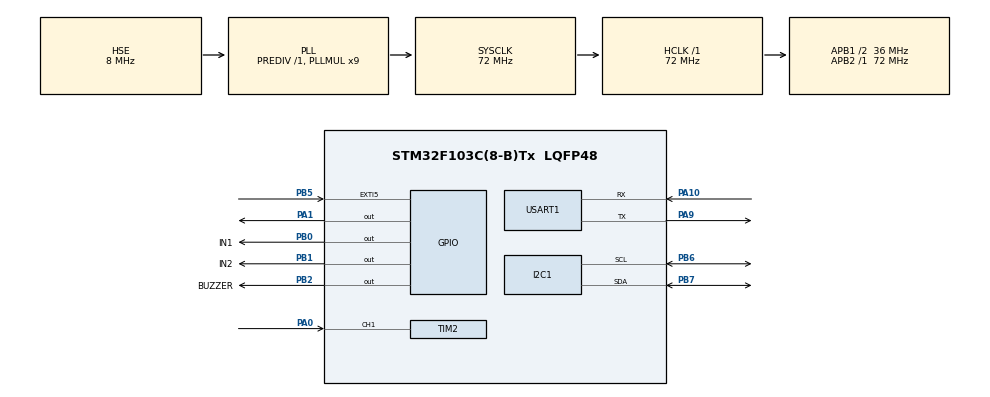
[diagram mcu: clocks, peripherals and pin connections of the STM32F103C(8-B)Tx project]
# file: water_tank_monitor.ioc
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Mcu.Family=STM32F1
Mcu.Name=STM32F103C(8-B)Tx
Mcu.Package=LQFP48
NVIC.EXTI9_5_IRQn=true\:0\:0\:false\:false\:true\:true\:true\:true
NVIC.PriorityGroup=NVIC_PRIORITYGROUP_4
NVIC.TIM2_IRQn=true\:0\:0\:false\:false\:true\:true\:true\:true
NVIC.TIM3_IRQn=true\:0\:0\:false\:false\:true\:true\:true\:true
PA0-WKUP.Signal=S_TIM2_CH1_ETR
PA1.Signal=GPIO_Output
PA10.Mode=Asynchronous
PA10.Signal=USART1_RX
PA13.Mode=Serial_Wire
PA13.Signal=SYS_JTMS-SWDIO
PA14.Mode=Serial_Wire
PA14.Signal=SYS_JTCK-SWCLK
PA9.Mode=Asynchronous
PA9.Signal=USART1_TX
PB0.GPIO_Label=IN1
PB0.Signal=GPIO_Output
PB1.GPIO_Label=IN2
PB1.Signal=GPIO_Output
PB2.GPIO_Label=BUZZER
PB2.Signal=GPIO_Output
PB5.GPIO_ModeDefaultEXTI=GPIO_MODE_IT_FALLING
PB5.GPIO_PuPd=GPIO_PULLUP
PB5.Signal=GPXTI5
PB6.Mode=I2C
PB6.Signal=I2C1_SCL
PB7.Mode=I2C
PB7.Signal=I2C1_SDA
PD0-OSC_IN.Mode=HSE-External-Oscillator
PD0-OSC_IN.Signal=RCC_OSC_IN
PD1-OSC_OUT.Mode=HSE-External-Oscillator
PD1-OSC_OUT.Signal=RCC_OSC_OUT
ProjectManager.HeapSize=0x200
ProjectManager.StackSize=0x400
ProjectManager.TargetToolchain=CMake
RCC.ADCPresc=RCC_ADCPCLK2_DIV6
RCC.AHBFreq_Value=72000000
RCC.APB1CLKDivider=RCC_HCLK_DIV2
RCC.APB1Freq_Value=36000000
RCC.APB1TimFreq_Value=72000000
RCC.APB2Freq_Value=72000000
RCC.APB2TimFreq_Value=72000000
RCC.HCLKFreq_Value=72000000
RCC.PLLMUL=RCC_PLL_MUL9
RCC.PLLSourceVirtual=RCC_PLLSOURCE_HSE
RCC.SYSCLKFreq_VALUE=72000000
RCC.SYSCLKSource=RCC_SYSCLKSOURCE_PLLCLK
RCC.USBFreq_Value=72000000
SH.S_TIM2_CH1_ETR.0=TIM2_CH1,Input_Capture1_from_TI1
TIM2.Channel-Input_Capture1_from_TI1=TIM_CHANNEL_1
TIM2.Prescaler=71
TIM3.Period=999
TIM3.Prescaler=7199
USART1.VirtualMode=VM_ASYNC
VP_TIM2_VS_ClockSourceINT.Mode=Internal
VP_TIM3_VS_ClockSourceINT.Mode=Internal
board=custom

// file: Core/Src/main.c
/* USER CODE BEGIN Header */
/**
  ******************************************************************************
  * @file           : main.c
  * @brief          : Water tank monitor application integration.
  ******************************************************************************
  */
/* USER CODE END Header */
#include "main.h"
#include "i2c.h"
#include "tim.h"
#include "usart.h"
#include "gpio.h"

/* USER CODE BEGIN Includes */
#include "logger.h"
#include "Oled.h"
#include "ln298n.h"
#include "buzzer.h"
#include "filter.h"
#include "fsm_logic.h"
#include "ultrasonic.h"

#include <stdbool.h>

/* USER CODE END Includes */

/* USER CODE BEGIN PD */
#define WATER_TANK_HEIGHT_CM             40.0f
#define ULTRASONIC_SAMPLE_PERIOD_MS      1000U

#define RUN_STARTUP_SELF_TESTS           0U
#define RUN_BUZZER_STARTUP_TEST          0U

#define FSM_LOW_LEVEL_PERCENT            20.0f
#define FSM_FILL_STOP_PERCENT            90.0f
#define FSM_OVERFLOW_PERCENT             98.0f
#define FSM_OVERFLOW_CLEAR_PERCENT       95.0f
#define FSM_FILL_TIMEOUT_MS              120000U

#define FSM_REQUIRE_FILTER_READY         1U

/* USER CODE END PD */

/* USER CODE BEGIN PV */
static DistanceFilter_t water_level_filter;
static FsmOutput_t water_fsm_output;

static uint32_t ultrasonic_last_sample_ms;
static UltrasonicStatus_t ultrasonic_last_reported_status;

static volatile bool fsm_reset_request;
static volatile uint32_t fsm_last_reset_button_ms;

/* USER CODE END PV */

void SystemClock_Config(void);
/* USER CODE BEGIN PFP */
static void WaterLevel_Init(void);
static void WaterLevel_Task(void);
static void Apply_Fsm_Output(const FsmOutput_t *output);
static void Log_Fsm_Config(const FsmConfig_t *config);

#if RUN_STARTUP_SELF_TESTS
static void Filter_Test_Run(void);
static void FSM_Test_Run(void);
#endif

/* USER CODE END PFP */

int main(void)
{

  /* MCU Configuration--------------------------------------------------------*/

  /* Reset of all peripherals, Initializes the Flash interface and the Systick. */
  HAL_Init();

  /* Configure the system clock */
  SystemClock_Config();

  /* Initialize all configured peripherals */
  MX_GPIO_Init();
  MX_I2C1_Init();
  MX_TIM2_Init();
  MX_TIM3_Init();
  MX_USART1_UART_Init();
  /* USER CODE BEGIN 2 */
  Logger_Init();
  L298N_Init();
  Buzzer_Init();

  L298N_Off();
  Buzzer_Off();

#if RUN_BUZZER_STARTUP_TEST
  Buzzer_On();
  HAL_Delay(150U);
  Buzzer_Off();
#endif

  if (!OLED_Init())
  {
    Logger_Print("ERROR | OLED_Init failed; continuing without display\r\n");
  }

#if RUN_STARTUP_SELF_TESTS
  Filter_Test_Run();
  FSM_Test_Run();
#endif

  WaterLevel_Init();

  Logger_Print("\r\n=== WATER TANK MONITOR START ===\r\n");

  /* USER CODE END 2 */

  /* Infinite loop */
  while (1)
  {

    /* USER CODE BEGIN 3 */
    WaterLevel_Task();
    HAL_Delay(5U);
  }
  /* USER CODE END 3 */
}

void SystemClock_Config(void)
{
  RCC_OscInitTypeDef RCC_OscInitStruct = {0};
  RCC_ClkInitTypeDef RCC_ClkInitStruct = {0};

  /** Initializes the RCC Oscillators according to the specified parameters
  * in the RCC_OscInitTypeDef structure.
  */
  RCC_OscInitStruct.OscillatorType = RCC_OSCILLATORTYPE_HSE;
  RCC_OscInitStruct.HSEState = RCC_HSE_ON;
  RCC_OscInitStruct.HSEPredivValue = RCC_HSE_PREDIV_DIV1;
  RCC_OscInitStruct.HSIState = RCC_HSI_ON;
  RCC_OscInitStruct.PLL.PLLState = RCC_PLL_ON;
  RCC_OscInitStruct.PLL.PLLSource = RCC_PLLSOURCE_HSE;
  RCC_OscInitStruct.PLL.PLLMUL = RCC_PLL_MUL9;
  if (HAL_RCC_OscConfig(&RCC_OscInitStruct) != HAL_OK)
  {
    Error_Handler();
  }

  /** Initializes the CPU, AHB and APB buses clocks
  */
  RCC_ClkInitStruct.ClockType = RCC_CLOCKTYPE_HCLK|RCC_CLOCKTYPE_SYSCLK
                              |RCC_CLOCKTYPE_PCLK1|RCC_CLOCKTYPE_PCLK2;
  RCC_ClkInitStruct.SYSCLKSource = RCC_SYSCLKSOURCE_PLLCLK;
  RCC_ClkInitStruct.AHBCLKDivider = RCC_SYSCLK_DIV1;
  RCC_ClkInitStruct.APB1CLKDivider = RCC_HCLK_DIV2;
  RCC_ClkInitStruct.APB2CLKDivider = RCC_HCLK_DIV1;

  if (HAL_RCC_ClockConfig(&RCC_ClkInitStruct, FLASH_LATENCY_2) != HAL_OK)
  {
    Error_Handler();
  }
}

/* USER CODE BEGIN 4 */

static void Log_Fsm_Config(const FsmConfig_t *config)
{
    if (config == NULL)
    {
        return;
    }

    Logger_Printf(
        "FSM | low=%4.1f%% fill_stop=%4.1f%% overflow=%4.1f%% "
        "clear=%4.1f%% timeout=%lu ms\r\n",
        config->low_level_percent,
        config->fill_stop_percent,
        config->overflow_percent,
        config->overflow_clear_percent,
        (unsigned long)config->fill_timeout_ms
    );
}

static void WaterLevel_Init(void)
{
    const FsmConfig_t fsm_config = {
        FSM_LOW_LEVEL_PERCENT,
        FSM_FILL_STOP_PERCENT,
        FSM_OVERFLOW_PERCENT,
        FSM_OVERFLOW_CLEAR_PERCENT,
        FSM_FILL_TIMEOUT_MS
    };

    fsm_reset_request = false;
    fsm_last_reset_button_ms = HAL_GetTick() - 150U;

    Filter_Init(&water_level_filter);
    if (!Filter_SetTankHeightCm(&water_level_filter, WATER_TANK_HEIGHT_CM))
    {
        Logger_Print("ERROR | invalid tank height configuration\r\n");
    }

    Fsm_InitWithConfig(&fsm_config);

    Ultrasonic_Init();

    water_fsm_output = (FsmOutput_t){
        FSM_STATE_INIT,
        FSM_ERROR_NONE,
        false,
        false
    };

    ultrasonic_last_sample_ms = HAL_GetTick() - ULTRASONIC_SAMPLE_PERIOD_MS;
    ultrasonic_last_reported_status = ULTRASONIC_STATUS_IDLE;

    Apply_Fsm_Output(&water_fsm_output);
    OLED_ShowWaterState(-1.0f, "INIT");

    Logger_Printf(
        "US | TRIG=PA1 | ECHO=PA0 TIM2_CH1 | tank_height=%6.2f cm | period=%u ms\r\n",
        Filter_GetTankHeightCm(&water_level_filter),
        (unsigned int)ULTRASONIC_SAMPLE_PERIOD_MS
    );
    Log_Fsm_Config(&fsm_config);
    Logger_Print("BTN | PB5 active-low reset input\r\n");
}

static void WaterLevel_Task(void)
{
    const uint32_t now_ms = HAL_GetTick();
    UltrasonicStatus_t status;
    float raw_distance_cm = 0.0f;
    float filtered_distance_cm = Filter_GetDistanceCm(&water_level_filter);
    float water_level_percent = Filter_GetWaterLevelPercent(&water_level_filter);
    bool distance_processed = false;

    Ultrasonic_Process();

    /* Consume a reset request generated by the EXTI callback. */
    const bool user_reset = fsm_reset_request;
    fsm_reset_request = false;

    if (Ultrasonic_ReadDistanceCm(&raw_distance_cm))
    {
        const bool filter_valid = Filter_UpdateWaterLevel(
            &water_level_filter,
            raw_distance_cm,
            &filtered_distance_cm,
            &water_level_percent
        );

        const bool filter_ready = Filter_IsReady(&water_level_filter);
        const bool sensor_ok = filter_valid && filter_ready;

#if FSM_REQUIRE_FILTER_READY
        /* Do not let the FSM react to the first few raw samples.  The filter
         * must have a complete window before its level is trusted. */
        if (filter_ready)
        {
            FsmInput_t fsm_input = {
                water_level_percent,
                sensor_ok,
                user_reset,
                now_ms
            };

            water_fsm_output = Fsm_Update(&fsm_input);
            Apply_Fsm_Output(&water_fsm_output);
            OLED_ShowWaterState(
                water_level_percent,
                Fsm_GetStateName(water_fsm_output.state)
            );
        }
        else
        {
            water_fsm_output = (FsmOutput_t){
                FSM_STATE_INIT,
                FSM_ERROR_NONE,
                false,
                false
            };
            Apply_Fsm_Output(&water_fsm_output);
            OLED_ShowWaterState(-1.0f, "FILTERING");
        }
#else
        FsmInput_t fsm_input = {
            water_level_percent,
            filter_valid,
            user_reset,
            now_ms
        };

        water_fsm_output = Fsm_Update(&fsm_input);
        Apply_Fsm_Output(&water_fsm_output);
        OLED_ShowWaterState(
            filter_valid ? water_level_percent : -1.0f,
            Fsm_GetStateName(water_fsm_output.state)
        );
#endif

        Logger_Printf(
            "WATER | raw=%6.2f cm | filtered=%6.2f cm | level=%6.2f%% | "
            "state=%s | pump=%u buzzer=%u | error=%s | echo=%lu us | "
            "valid=%u ready=%u count=%u reset=%u\r\n",
            raw_distance_cm,
            filtered_distance_cm,
            water_level_percent,
            Fsm_GetStateName(water_fsm_output.state),
            water_fsm_output.pump_on ? 1U : 0U,
            water_fsm_output.buzzer_on ? 1U : 0U,
            Fsm_GetErrorName(water_fsm_output.error),
            (unsigned long)Ultrasonic_GetEchoTimeUs(),
            filter_valid ? 1U : 0U,
            Filter_IsReady(&water_level_filter) ? 1U : 0U,
            (unsigned int)Filter_GetSampleCount(&water_level_filter),
            user_reset ? 1U : 0U
        );

        ultrasonic_last_reported_status = ULTRASONIC_STATUS_DONE;
        distance_processed = true;
    }

    status = Ultrasonic_GetStatus();

    /* A timeout/error is treated as a sensor failure.  Do this once per
     * error event to avoid flooding UART and repeatedly rendering OLED. */
    if (((status == ULTRASONIC_STATUS_TIMEOUT) ||
        (status == ULTRASONIC_STATUS_OUT_OF_RANGE) ||
         (status == ULTRASONIC_STATUS_ERROR)) &&
        (status != ultrasonic_last_reported_status))
    {
        FsmInput_t fsm_input = {
            water_level_percent,
            false,
            user_reset,
            now_ms
        };

        water_fsm_output = Fsm_Update(&fsm_input);
        Apply_Fsm_Output(&water_fsm_output);

        OLED_ShowWaterState(
            -1.0f,
            Fsm_GetStateName(water_fsm_output.state)
        );

        Logger_Printf(
            "SENSOR ERROR | status=%s | state=%s | pump=%u buzzer=%u | error=%s | reset=%u\r\n",
            Ultrasonic_GetStatusName(status),
            Fsm_GetStateName(water_fsm_output.state),
            water_fsm_output.pump_on ? 1U : 0U,
            water_fsm_output.buzzer_on ? 1U : 0U,
            Fsm_GetErrorName(water_fsm_output.error),
            user_reset ? 1U : 0U
        );

        ultrasonic_last_reported_status = status;
    }

    /* If the reset button is pressed while there is no new ultrasonic sample,
     * still pass the request to the FSM. */
    if (user_reset &&
        !distance_processed &&
        (status != ULTRASONIC_STATUS_TIMEOUT) &&
        (status != ULTRASONIC_STATUS_OUT_OF_RANGE) &&
        (status != ULTRASONIC_STATUS_ERROR))
    {
        FsmInput_t fsm_input = {
            water_level_percent,
            Filter_IsReady(&water_level_filter),
            true,
            now_ms
        };

        water_fsm_output = Fsm_Update(&fsm_input);
        Apply_Fsm_Output(&water_fsm_output);
        OLED_ShowWaterState(
            water_level_percent,
            Fsm_GetStateName(water_fsm_output.state)
        );

        Logger_Printf(
            "FSM RESET | state=%s | pump=%u buzzer=%u | error=%s\r\n",
            Fsm_GetStateName(water_fsm_output.state),
            water_fsm_output.pump_on ? 1U : 0U,
            water_fsm_output.buzzer_on ? 1U : 0U,
            Fsm_GetErrorName(water_fsm_output.error)
        );
    }

    if (!Ultrasonic_IsBusy() &&
        ((uint32_t)(now_ms - ultrasonic_last_sample_ms) >=
         ULTRASONIC_SAMPLE_PERIOD_MS))
    {
        ultrasonic_last_sample_ms = now_ms;

        if (Ultrasonic_Start())
        {
            ultrasonic_last_reported_status = ULTRASONIC_STATUS_WAIT_RISING;
        }
        else
        {
            Logger_Printf(
                "US START FAIL | status=%s\r\n",
                Ultrasonic_GetStatusName(Ultrasonic_GetStatus())
            );
        }
    }
}

static void Apply_Fsm_Output(const FsmOutput_t *output)
{
    if (output == NULL)
    {
        L298N_Off();
        Buzzer_Off();
        return;
    }

    if (output->pump_on)
    {
        L298N_On();
    }
    else
    {
        L298N_Off();
    }

    Buzzer_Set(output->buzzer_on);
}

/**
  * @brief GPIO EXTI callback. PB5 is the user-reset button.
  */
void HAL_GPIO_EXTI_Callback(uint16_t GPIO_Pin)
{
    if (GPIO_Pin == GPIO_PIN_5)
    {
        const uint32_t now_ms = HAL_GetTick();

        /* Simple software debounce: ignore edges within 150 ms. */
        if ((uint32_t)(now_ms - fsm_last_reset_button_ms) >= 150U)
        {
            fsm_reset_request = true;
            fsm_last_reset_button_ms = now_ms;
        }
    }
}

#if RUN_STARTUP_SELF_TESTS
static float Test_AbsFloat(float value)
{
    return (value < 0.0f) ? -value : value;
}

static void Filter_Test_Run(void)
{
    /* Keep startup tests available for manual verification. */
    DistanceFilter_t filter;
    float filtered_cm = 0.0f;
    float water_level = 0.0f;
    const float samples[] = {20.1f, 20.3f, 19.8f, 20.7f, 20.0f};

    Filter_Init(&filter);
    Filter_SetTankHeightCm(&filter, WATER_TANK_HEIGHT_CM);

    for (uint8_t i = 0U; i < (uint8_t)(sizeof(samples) / sizeof(samples[0])); ++i)
    {
        (void)Filter_UpdateWaterLevel(
            &filter,
            samples[i],
            &filtered_cm,
            &water_level
        );
    }

    Logger_Printf(
        "FILTER SELF TEST | filtered=%6.2f cm | level=%6.2f%% | ready=%u\r\n",
        filtered_cm,
        water_level,
        Filter_IsReady(&filter) ? 1U : 0U
    );

    (void)Test_AbsFloat(0.0f);
}

static void FSM_Test_Run(void)
{
    const FsmInput_t tests[] = {
        {50.0f, true, false, 0U},
        {15.0f, true, false, 1000U},
        {90.0f, true, false, 2000U},
        {99.0f, true, false, 3000U},
        {95.0f, true, false, 4000U},
        {50.0f, false, false, 5000U},
        {50.0f, true, true, 6000U}
    };

    Fsm_Init();

    Logger_Print("FSM SELF TEST\r\n");
    for (uint8_t i = 0U; i < (uint8_t)(sizeof(tests) / sizeof(tests[0])); ++i)
    {
        FsmOutput_t output = Fsm_Update(&tests[i]);
        Logger_Printf(
            "T%u | state=%s | pump=%u | buzzer=%u | error=%s\r\n",
            (unsigned int)(i + 1U),
            Fsm_GetStateName(output.state),
            output.pump_on ? 1U : 0U,
            output.buzzer_on ? 1U : 0U,
            Fsm_GetErrorName(output.error)
        );
    }
}
#endif

/* USER CODE END 4 */

void Error_Handler(void)
{
  /* USER CODE BEGIN Error_Handler_Debug */
  /* User can add his own implementation to report the HAL error return state */
  __disable_irq();
  L298N_Off();
  Buzzer_Off();
  while (1)
  {
  }
  /* USER CODE END Error_Handler_Debug */
}
#ifdef USE_FULL_ASSERT
/**
  * @brief  Reports the name of the source file and the source line number
  *         where the assert_param error has occurred.
  * @param  file: pointer to the source file name
  * @param  line: assert_param error line source number
  * @retval None
  */
void assert_failed(uint8_t *file, uint32_t line)
{
  /* USER CODE BEGIN 6 */
  /* User can add his own implementation to report the file name and line number,
     ex: printf("Wrong parameters value: file %s on line %d\r\n", file, line) */
  (void)file;
  (void)line;
  /* USER CODE END 6 */
}
#endif /* USE_FULL_ASSERT */
